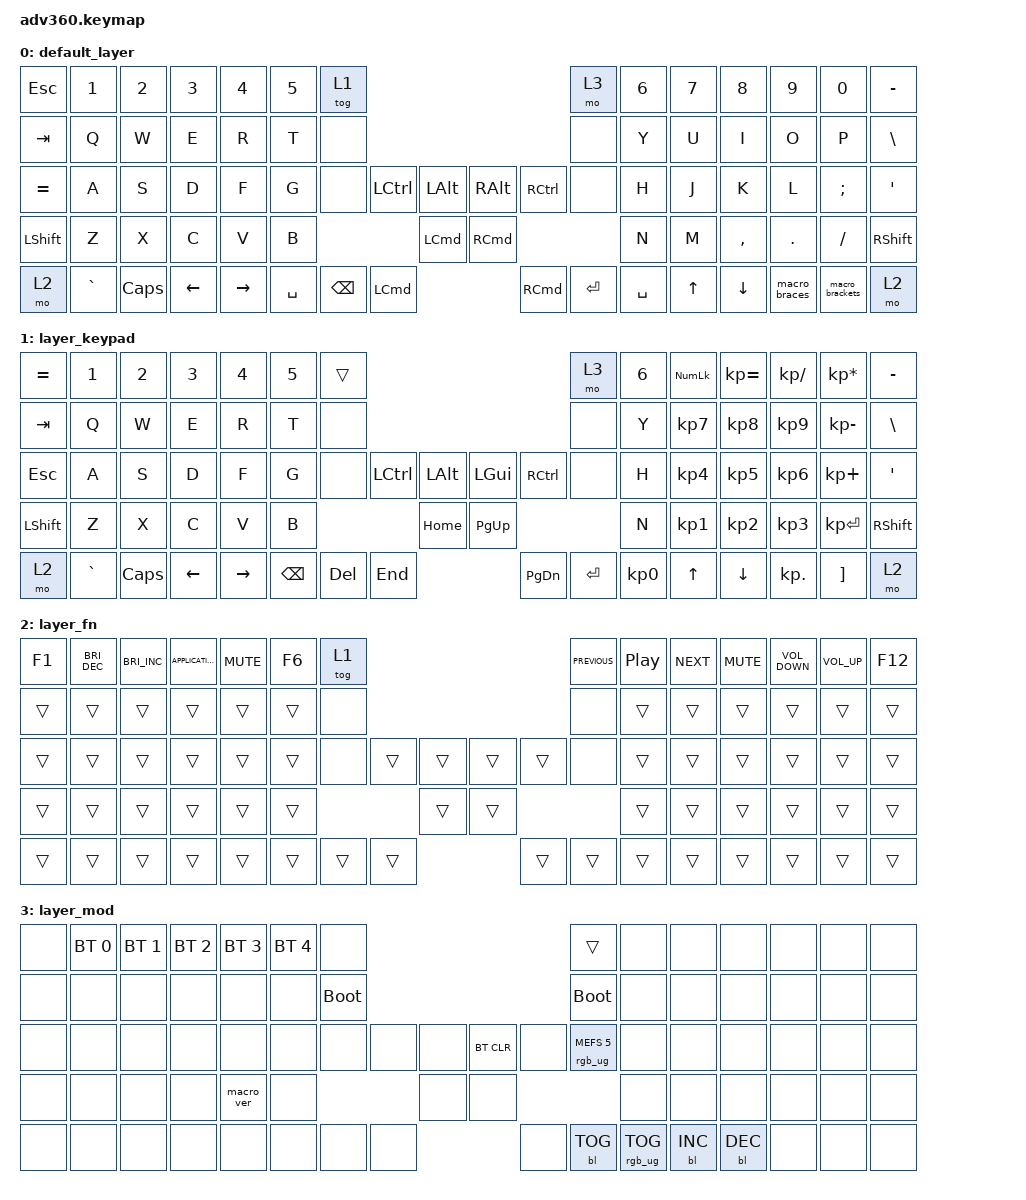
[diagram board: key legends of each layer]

/*
 * Copyright (c) 2020 The ZMK Contributors
 *
 * SPDX-License-Identifier: MIT
 */


/* THIS FILE WAS GENERATED!
 *
 * This file was generated automatically. You may or may not want to
 * edit it directly.
 */

#include <behaviors.dtsi>
#include <dt-bindings/zmk/keys.h>
#include <dt-bindings/zmk/bt.h>
#include <dt-bindings/zmk/rgb.h>
#include <dt-bindings/zmk/backlight.h>

/ {
  behaviors {
    #include "macros.dtsi"
    #include "version.dtsi"

    hm: homerow_mods {
        compatible = "zmk,behavior-hold-tap";
        label = "HOMEROW_MODS";
        #binding-cells = <2>;
        tapping-term-ms = <200>;
        quick_tap_ms = <175>;
        flavor = "tap-preferred";
        bindings = <&kp>, <&kp>;
    };
  };

    keymap {
        compatible = "zmk,keymap";


        default_layer {
            bindings = <
   &kp ESC     &kp N1    &kp N2    &kp N3     &kp N4  &kp N5               &tog 1                                                                                     &mo 3  &kp N6  &kp N7     &kp N8         &kp N9           &kp N0  &kp MINUS
   &kp TAB      &kp Q     &kp W     &kp E      &kp R   &kp T                &none                                                                                     &none   &kp Y   &kp U      &kp I          &kp O            &kp P   &kp BSLH
 &kp EQUAL      &kp A     &kp S     &kp D      &kp F   &kp G                &none      &kp LCTRL          &kp LALT                      &kp RIGHT_ALT  &kp RCTRL      &none   &kp H   &kp J      &kp K          &kp L         &kp SEMI    &kp SQT
 &kp LSHFT      &kp Z     &kp X     &kp C      &kp V   &kp B                                      &kp LEFT_COMMAND                  &kp RIGHT_COMMAND                         &kp N   &kp M  &kp COMMA        &kp DOT         &kp FSLH  &kp RSHFT
     &mo 2  &kp GRAVE  &kp CAPS  &kp LEFT  &kp RIGHT                    &kp SPACE  &kp BACKSPACE  &kp LEFT_COMMAND                  &kp RIGHT_COMMAND  &kp ENTER  &kp SPACE          &kp UP   &kp DOWN  &macro_braces  &macro_brackets      &mo 2
            >;
        };

        layer_keypad {
            bindings = <
 &kp EQUAL     &kp N1    &kp N2    &kp N3     &kp N4  &kp N5              &trans                                                                 &mo 3  &kp N6  &kp KP_NUM  &kp KP_EQUAL  &kp KP_DIVIDE  &kp KP_MULTIPLY  &kp MINUS
   &kp TAB      &kp Q     &kp W     &kp E      &kp R   &kp T               &none                                                                 &none   &kp Y   &kp KP_N7     &kp KP_N8      &kp KP_N9     &kp KP_MINUS   &kp BSLH
   &kp ESC      &kp A     &kp S     &kp D      &kp F   &kp G               &none  &kp LCTRL  &kp LALT                   &kp LGUI  &kp RCTRL      &none   &kp H   &kp KP_N4     &kp KP_N5      &kp KP_N6      &kp KP_PLUS    &kp SQT
 &kp LSHFT      &kp Z     &kp X     &kp C      &kp V   &kp B                                 &kp HOME                  &kp PG_UP                         &kp N   &kp KP_N1     &kp KP_N2      &kp KP_N3     &kp KP_ENTER  &kp RSHFT
     &mo 2  &kp GRAVE  &kp CAPS  &kp LEFT  &kp RIGHT                    &kp BSPC    &kp DEL   &kp END                  &kp PG_DN  &kp ENTER  &kp KP_N0              &kp UP      &kp DOWN     &kp KP_DOT         &kp RBKT      &mo 2
            >;
        };

        layer_fn {
            bindings = <
 &kp F1  &kp C_BRIGHTNESS_DEC  &kp C_BRIGHTNESS_INC  &kp K_APPLICATION  &kp C_MUTE  &kp F6            &tog 1                                                  &kp C_PREVIOUS  &kp C_PLAY_PAUSE  &kp C_NEXT  &kp C_MUTE  &kp C_VOLUME_DOWN  &kp C_VOLUME_UP  &kp F12
 &trans                &trans                &trans             &trans      &trans  &trans             &none                                                           &none            &trans      &trans      &trans             &trans           &trans   &trans
 &trans                &trans                &trans             &trans      &trans  &trans             &none  &trans  &trans                  &trans  &trans           &none            &trans      &trans      &trans             &trans           &trans   &trans
 &trans                &trans                &trans             &trans      &trans  &trans                            &trans                  &trans                                    &trans      &trans      &trans             &trans           &trans   &trans
 &trans                &trans                &trans             &trans      &trans                    &trans  &trans  &trans                  &trans  &trans          &trans                        &trans      &trans             &trans           &trans   &trans
            >;
        };

        layer_mod {
            bindings = <
  &none  &bt BT_SEL 0  &bt BT_SEL 1  &bt BT_SEL 2  &bt BT_SEL 3  &bt BT_SEL 4                  &none                                                                          &trans   &none       &none       &none   &none   &none   &none
  &none         &none         &none         &none         &none         &none            &bootloader                                                                     &bootloader   &none       &none       &none   &none   &none   &none
  &none         &none         &none         &none         &none         &none                  &none   &none   &none                  &bt BT_CLR       &none  &rgb_ug RGB_MEFS_CMD 5   &none       &none       &none   &none   &none   &none
  &none         &none         &none         &none    &macro_ver         &none                                  &none                       &none                                       &none       &none       &none   &none   &none   &none
  &none         &none         &none         &none         &none                                &none   &none   &none                       &none  &bl BL_TOG         &rgb_ug RGB_TOG          &bl BL_INC  &bl BL_DEC   &none   &none   &none
            >;
        };

    };
};
